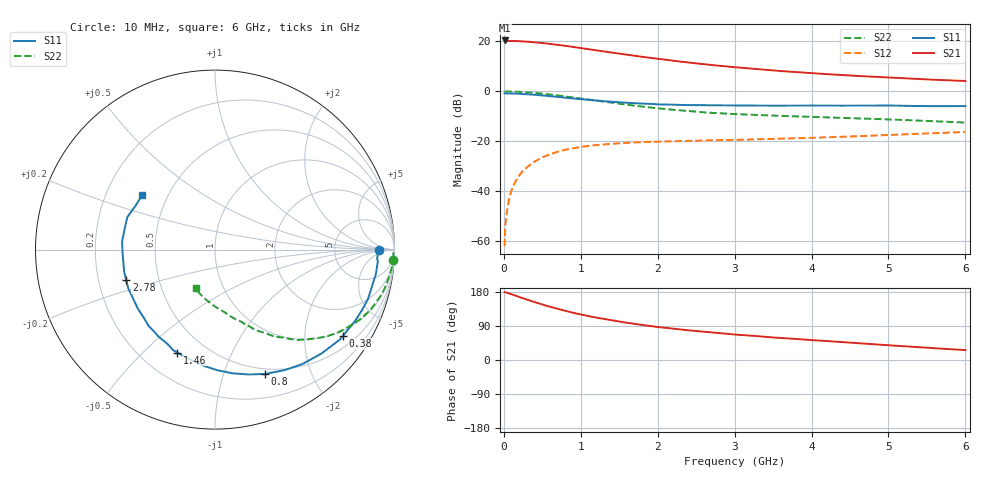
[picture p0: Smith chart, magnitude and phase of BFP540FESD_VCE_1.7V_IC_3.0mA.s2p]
! Infineon Technologies  Discrete & RF Semiconductors
! BFP540FESD
! VCE =  1.7 V,  IC =  3.0 mA
! Common Emitter S-Parameters:  Nov 2015
# GHz  S  MA  R  50
!  f  S11  S21  S12  S22
! GHz  MAG  ANG  MAG  ANG  MAG  ANG  MAG  ANG
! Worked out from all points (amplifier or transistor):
!   210 points, 10 MHz to 6 GHz, reference 50 ohm
!   highest |S21| = 20.3 dB at 10 MHz (marker M1)
!   |S21| within 3 dB of that: start of sweep to 990.9 MHz
!   unconditionally stable (mu >= 1): 3.1 GHz to end of sweep
!   at 185 MHz: K = 0.04, MSG = 27.2 dB, |S12| = -34.4 dB
!   at 1.52 GHz: K = 0.47, MSG = 17.9 dB, |S12| = -20.7 dB
!   at 6 GHz: K = 1.43, MAG = 6.3 dB, |S12| = -16.3 dB
!   S11 on the Smith chart (normalised r, x): 10 MHz: 22, -0; 380 MHz: 0.83, -3.07; 800 MHz: 0.44, -1.38; 1.46 GHz: 0.35, -0.64; 2.78 GHz: 0.32, -0.15; 6 GHz: 0.36, +0.29
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0.01  0.9112 -0.1  10.41 179.1  0.0008 112.6  0.9956 -3.4
0.02  0.9044 -3.2  10.16 178.8  0.0022 80.1  0.9933 -1.1
0.035  0.9071 -3.7  10.16 177.8  0.0035 88.7  0.9921 -1.9
0.1  0.9065 -8.7  10.16 173.4  0.0105 84.8  0.9915 -5.3
0.15  0.8975 -14.1  10.18 170.1  0.0155 82.9  0.9844 -7.9
0.26  0.8828 -23.5  9.943 162.3  0.0267 77.2  0.9663 -13.7
0.38  0.8597 -34.0  9.641 154.1  0.0376 72.4  0.937 -19.6
0.5  0.8293 -44.2  9.303 146.4  0.0478 66.6  0.8998 -25.4
0.6  0.8025 -52.6  8.882 140.3  0.0548 62.6  0.8635 -29.6
0.8  0.7462 -68.3  8.135 129.5  0.068 54.3  0.7905 -37.6
0.9  0.7193 -75.2  7.719 124.5  0.0725 51.4  0.7538 -40.9
1.02  0.6911 -83.1  7.259 119.4  0.078 48.1  0.7121 -44.6
1.2  0.6517 -95.1  6.593 111.8  0.0842 43.5  0.6518 -49.9
1.46  0.6107 -110.1  5.788 102.7  0.0906 38.6  0.5759 -56.4
1.72  0.5765 -123.4  5.1 94.6  0.0953 34.9  0.5117 -62.2
2.02  0.5482 -136.7  4.446 86.7  0.0986 31.8  0.454 -67.6
2.4  0.5305 -150.3  3.763 78.3  0.102 29.1  0.4051 -73.5
2.78  0.5234 -160.9  3.27 71.4  0.1057 28.2  0.3657 -79.1
3.1  0.5182 -168.6  2.946 65.8  0.1078 27.4  0.3458 -82.8
4.1  0.518 173.5  2.255 51.3  0.1189 27.3  0.3042 -93.5
5.1  0.5169 157.9  1.856 37.7  0.136 26.2  0.2711 -104.5
6  0.5067 143.2  1.61 26.1  0.1537 24.5  0.2374 -116.7
